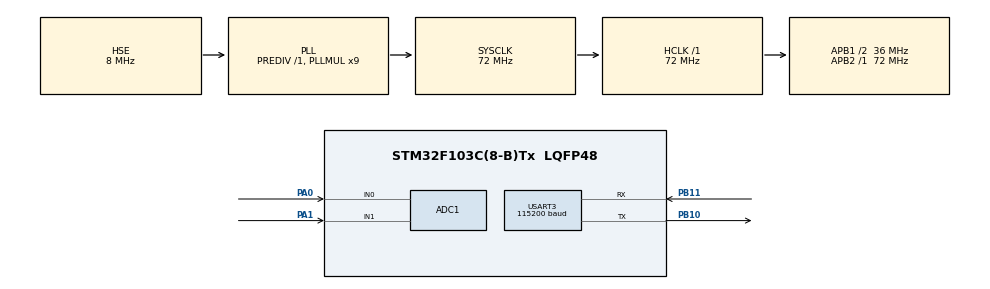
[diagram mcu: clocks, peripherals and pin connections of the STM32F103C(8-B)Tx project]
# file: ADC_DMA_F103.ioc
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ADC1.Channel-0\#ChannelRegularConversion=ADC_CHANNEL_0
ADC1.Channel-1\#ChannelRegularConversion=ADC_CHANNEL_1
ADC1.ContinuousConvMode=ENABLE
ADC1.NbrOfConversion=2
ADC1.NbrOfConversionFlag=1
ADC1.Rank-0\#ChannelRegularConversion=1
ADC1.Rank-1\#ChannelRegularConversion=2
ADC1.SamplingTime-0\#ChannelRegularConversion=ADC_SAMPLETIME_28CYCLES_5
ADC1.SamplingTime-1\#ChannelRegularConversion=ADC_SAMPLETIME_28CYCLES_5
ADC1.master=1
Dma.ADC1.0.Direction=DMA_PERIPH_TO_MEMORY
Dma.ADC1.0.Instance=DMA1_Channel1
Dma.ADC1.0.MemDataAlignment=DMA_MDATAALIGN_HALFWORD
Dma.ADC1.0.MemInc=DMA_MINC_ENABLE
Dma.ADC1.0.Mode=DMA_CIRCULAR
Dma.ADC1.0.PeriphDataAlignment=DMA_PDATAALIGN_HALFWORD
Dma.ADC1.0.PeriphInc=DMA_PINC_DISABLE
Dma.ADC1.0.Priority=DMA_PRIORITY_LOW
Dma.Request0=ADC1
Mcu.Family=STM32F1
Mcu.Name=STM32F103C(8-B)Tx
Mcu.Package=LQFP48
NVIC.DMA1_Channel1_IRQn=true\:2\:0\:true\:false\:true\:false\:true
NVIC.PriorityGroup=NVIC_PRIORITYGROUP_4
PA0-WKUP.Signal=ADCx_IN0
PA1.Signal=ADCx_IN1
PA13.Mode=Serial_Wire
PA13.Signal=SYS_JTMS-SWDIO
PA14.Mode=Serial_Wire
PA14.Signal=SYS_JTCK-SWCLK
PB10.Mode=Asynchronous
PB10.Signal=USART3_TX
PB11.Mode=Asynchronous
PB11.Signal=USART3_RX
PD0-OSC_IN.Mode=HSE-External-Oscillator
PD0-OSC_IN.Signal=RCC_OSC_IN
PD1-OSC_OUT.Mode=HSE-External-Oscillator
PD1-OSC_OUT.Signal=RCC_OSC_OUT
ProjectManager.HeapSize=0x200
ProjectManager.StackSize=0x400
ProjectManager.TargetToolchain=STM32CubeIDE
RCC.ADCPresc=RCC_ADCPCLK2_DIV6
RCC.AHBFreq_Value=72000000
RCC.APB1CLKDivider=RCC_HCLK_DIV2
RCC.APB1Freq_Value=36000000
RCC.APB1TimFreq_Value=72000000
RCC.APB2Freq_Value=72000000
RCC.APB2TimFreq_Value=72000000
RCC.HCLKFreq_Value=72000000
RCC.PLLMUL=RCC_PLL_MUL9
RCC.PLLSourceVirtual=RCC_PLLSOURCE_HSE
RCC.SYSCLKFreq_VALUE=72000000
RCC.SYSCLKSource=RCC_SYSCLKSOURCE_PLLCLK
RCC.USBFreq_Value=72000000
SH.ADCx_IN0.0=ADC1_IN0,IN0
SH.ADCx_IN1.0=ADC1_IN1,IN1
USART3.BaudRate=115200
USART3.VirtualMode=VM_ASYNC
board=custom

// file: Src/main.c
/* USER CODE BEGIN Header */
/**
  ******************************************************************************
  * @file           : main.c
  * @brief          : Main program body
  ******************************************************************************
  * @attention
  *
  * <h2><center>&copy; Copyright (c) 2021 STMicroelectronics.
  * All rights reserved.</center></h2>
  *
  * This software component is licensed by ST under BSD 3-Clause license,
  * the "License"; You may not use this file except in compliance with the
  * License. You may obtain a copy of the License at:
  *                        opensource.org/licenses/BSD-3-Clause
  *
  ******************************************************************************
  */
/* USER CODE END Header */
#include "main.h"

/* USER CODE BEGIN Includes */
#include "string.h"
#include "stdio.h"
/* USER CODE END Includes */

/* USER CODE BEGIN PTD */
// STM32F303C8T6
/* USER CODE END PTD */

/* USER CODE BEGIN PD */
#define COUNT_REQUEST     40
#define CH_ADC            2  // количество каналов (если тут не чётное число, то COUNT_REQUEST должен делится на него без остатка)
//#define DIV_ADC           (COUNT_REQUEST / CH_ADC)
/* USER CODE END PD */

ADC_HandleTypeDef hadc1;
DMA_HandleTypeDef hdma_adc1;

UART_HandleTypeDef huart3;

/* USER CODE BEGIN PV */
char trans_str[128] = {0,};

volatile uint8_t adc_flag_half = 0;
volatile uint8_t adc_flag_full = 0;

/* USER CODE END PV */

void SystemClock_Config(void);
static void MX_GPIO_Init(void);
static void MX_DMA_Init(void);
static void MX_ADC1_Init(void);
static void MX_USART3_UART_Init(void);

/* USER CODE BEGIN 0 */
void trans_to_usart_data(char *buf)
{
	uint8_t len = strlen((char*)buf);

	for(uint8_t i = 0; i < len; i++)
	{
	  while((USART3->SR & USART_SR_TXE) == 0){}
	  USART3->DR = buf[i];
	}

	while((USART3->SR & USART_SR_TXE) == 0){}
	USART3->DR = '\n';
}

void HAL_ADC_ConvCpltCallback(ADC_HandleTypeDef* hadc)
{
	if(hadc->Instance == ADC1)
	{
		adc_flag_full = 1;
	}
}

void HAL_ADC_ConvHalfCpltCallback(ADC_HandleTypeDef* hadc)
{
	if(hadc->Instance == ADC1)
	{
		adc_flag_half = 1;
	}
}

/* USER CODE END 0 */

int main(void)
{

  /* MCU Configuration--------------------------------------------------------*/

  /* Reset of all peripherals, Initializes the Flash interface and the Systick. */
  HAL_Init();

  /* Configure the system clock */
  SystemClock_Config();

  /* Initialize all configured peripherals */
  MX_GPIO_Init();
  MX_DMA_Init();
  MX_ADC1_Init();
  MX_USART3_UART_Init();
  /* USER CODE BEGIN 2 */

  HAL_ADCEx_Calibration_Start(&hadc1);
  uint16_t adc_buf[COUNT_REQUEST] = {0,};
  HAL_ADC_Start_DMA(&hadc1, (uint32_t*)adc_buf, COUNT_REQUEST);

  uint32_t adc_ch_1 = 0;
  uint32_t adc_ch_2 = 0;

  uint16_t *ptr_adc_buf = NULL;
  /* USER CODE END 2 */

  /* Infinite loop */
  /* USER CODE BEGIN WHILE */
  while (1)
  {
	  if(adc_flag_full == 1)
	  {
		  	adc_flag_full = 0;

			adc_ch_1 = 0;
			adc_ch_2 = 0;

			ptr_adc_buf = &adc_buf[COUNT_REQUEST / 2];

		    // разбираем данные с АЦП1 полученые через ДМА
			for(uint16_t i = 0; i < COUNT_REQUEST / (2 * 2); i++)
			{
				adc_ch_1 += ptr_adc_buf[CH_ADC * i + 0];
				adc_ch_2 += ptr_adc_buf[CH_ADC * i + 1];
			}

			// усредняем
			adc_ch_1 = (adc_ch_1 / (COUNT_REQUEST / (2 * 2)));
			adc_ch_2 = (adc_ch_2 / (COUNT_REQUEST / (2 * 2)));

			snprintf(trans_str, 128, "%lu %lu", adc_ch_1, adc_ch_2);
			trans_to_usart_data(trans_str);
	  }

	  //////////////////////////// HALF ///////////////////////////////
	  if(adc_flag_half == 1)
	  {
		    adc_flag_half = 0;

			adc_ch_1 = 0;
			adc_ch_2 = 0;

			ptr_adc_buf = &adc_buf[0];

		    // разбираем данные с АЦП1 полученые через ДМА
			for(uint16_t i = 0; i < COUNT_REQUEST / (2 * 2); i++)
			{
				adc_ch_1 += ptr_adc_buf[CH_ADC * i + 0];
				adc_ch_2 += ptr_adc_buf[CH_ADC * i + 1];
			}

			// усредняем
			adc_ch_1 = (adc_ch_1 / (COUNT_REQUEST / (2 * 2)));
			adc_ch_2 = (adc_ch_2 / (COUNT_REQUEST / (2 * 2)));

			snprintf(trans_str, 128, "%lu %lu", adc_ch_1, adc_ch_2);
			trans_to_usart_data(trans_str);
	  }
    /* USER CODE END WHILE */

  }
}

void SystemClock_Config(void)
{
  RCC_OscInitTypeDef RCC_OscInitStruct = {0};
  RCC_ClkInitTypeDef RCC_ClkInitStruct = {0};
  RCC_PeriphCLKInitTypeDef PeriphClkInit = {0};

  /** Initializes the RCC Oscillators according to the specified parameters
  * in the RCC_OscInitTypeDef structure.
  */
  RCC_OscInitStruct.OscillatorType = RCC_OSCILLATORTYPE_HSE;
  RCC_OscInitStruct.HSEState = RCC_HSE_ON;
  RCC_OscInitStruct.HSEPredivValue = RCC_HSE_PREDIV_DIV1;
  RCC_OscInitStruct.HSIState = RCC_HSI_ON;
  RCC_OscInitStruct.PLL.PLLState = RCC_PLL_ON;
  RCC_OscInitStruct.PLL.PLLSource = RCC_PLLSOURCE_HSE;
  RCC_OscInitStruct.PLL.PLLMUL = RCC_PLL_MUL9;
  if (HAL_RCC_OscConfig(&RCC_OscInitStruct) != HAL_OK)
  {
    Error_Handler();
  }
  /** Initializes the CPU, AHB and APB buses clocks
  */
  RCC_ClkInitStruct.ClockType = RCC_CLOCKTYPE_HCLK|RCC_CLOCKTYPE_SYSCLK
                              |RCC_CLOCKTYPE_PCLK1|RCC_CLOCKTYPE_PCLK2;
  RCC_ClkInitStruct.SYSCLKSource = RCC_SYSCLKSOURCE_PLLCLK;
  RCC_ClkInitStruct.AHBCLKDivider = RCC_SYSCLK_DIV1;
  RCC_ClkInitStruct.APB1CLKDivider = RCC_HCLK_DIV2;
  RCC_ClkInitStruct.APB2CLKDivider = RCC_HCLK_DIV1;

  if (HAL_RCC_ClockConfig(&RCC_ClkInitStruct, FLASH_LATENCY_2) != HAL_OK)
  {
    Error_Handler();
  }
  PeriphClkInit.PeriphClockSelection = RCC_PERIPHCLK_ADC;
  PeriphClkInit.AdcClockSelection = RCC_ADCPCLK2_DIV6;
  if (HAL_RCCEx_PeriphCLKConfig(&PeriphClkInit) != HAL_OK)
  {
    Error_Handler();
  }
}

static void MX_ADC1_Init(void)
{

  ADC_ChannelConfTypeDef sConfig = {0};

  /** Common config
  */
  hadc1.Instance = ADC1;
  hadc1.Init.ScanConvMode = ADC_SCAN_ENABLE;
  hadc1.Init.ContinuousConvMode = ENABLE;
  hadc1.Init.DiscontinuousConvMode = DISABLE;
  hadc1.Init.ExternalTrigConv = ADC_SOFTWARE_START;
  hadc1.Init.DataAlign = ADC_DATAALIGN_RIGHT;
  hadc1.Init.NbrOfConversion = 2;
  if (HAL_ADC_Init(&hadc1) != HAL_OK)
  {
    Error_Handler();
  }
  /** Configure Regular Channel
  */
  sConfig.Channel = ADC_CHANNEL_0;
  sConfig.Rank = ADC_REGULAR_RANK_1;
  sConfig.SamplingTime = ADC_SAMPLETIME_28CYCLES_5;
  if (HAL_ADC_ConfigChannel(&hadc1, &sConfig) != HAL_OK)
  {
    Error_Handler();
  }
  /** Configure Regular Channel
  */
  sConfig.Channel = ADC_CHANNEL_1;
  sConfig.Rank = ADC_REGULAR_RANK_2;
  if (HAL_ADC_ConfigChannel(&hadc1, &sConfig) != HAL_OK)
  {
    Error_Handler();
  }

}

static void MX_USART3_UART_Init(void)
{

  huart3.Instance = USART3;
  huart3.Init.BaudRate = 115200;
  huart3.Init.WordLength = UART_WORDLENGTH_8B;
  huart3.Init.StopBits = UART_STOPBITS_1;
  huart3.Init.Parity = UART_PARITY_NONE;
  huart3.Init.Mode = UART_MODE_TX_RX;
  huart3.Init.HwFlowCtl = UART_HWCONTROL_NONE;
  huart3.Init.OverSampling = UART_OVERSAMPLING_16;
  if (HAL_UART_Init(&huart3) != HAL_OK)
  {
    Error_Handler();
  }

}

static void MX_DMA_Init(void)
{

  /* DMA controller clock enable */
  __HAL_RCC_DMA1_CLK_ENABLE();

  /* DMA interrupt init */
  /* DMA1_Channel1_IRQn interrupt configuration */
  HAL_NVIC_SetPriority(DMA1_Channel1_IRQn, 2, 0);
  HAL_NVIC_EnableIRQ(DMA1_Channel1_IRQn);

}

static void MX_GPIO_Init(void)
{

  /* GPIO Ports Clock Enable */
  __HAL_RCC_GPIOD_CLK_ENABLE();
  __HAL_RCC_GPIOA_CLK_ENABLE();
  __HAL_RCC_GPIOB_CLK_ENABLE();

}

void Error_Handler(void)
{
}
